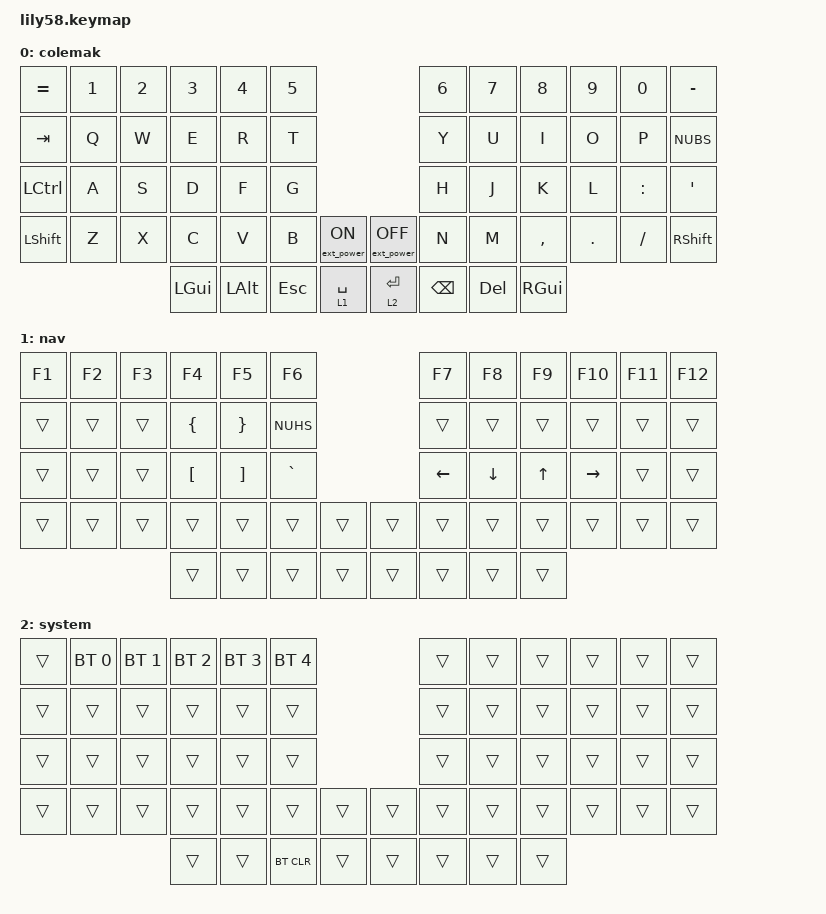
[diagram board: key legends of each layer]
/*
 * Copyright (c) 2020 The ZMK Contributors
 *
 * SPDX-License-Identifier: MIT
 */

#include <behaviors.dtsi>
#include <dt-bindings/zmk/keys.h>
#include <dt-bindings/zmk/bt.h>
#include <dt-bindings/zmk/ext_power.h>
#include "zmk-helpers/helper.h"             // source ZMK helper macros from urob see config/west.yaml

// As per https://araxia.net/keyboards/nice-view-bodge/, move screen gpio spi interface to 101.
&nice_view_spi {
    cs-gpios = <&gpio1 1 GPIO_ACTIVE_HIGH>;
};

/* Configure layers... */
ZMK_LAYER(colemak,
     // ╭─────────────┬─────────────┬─────────────┬─────────────┬─────────────┬─────────────╮                                      ╭─────────────┬─────────────┬─────────────┬─────────────┬─────────────┬─────────────╮
          &kp EQUAL     &kp N1        &kp N2        &kp N3        &kp N4           &kp N5                                          &kp N6        &kp N7        &kp N8        &kp N9        &kp N0        &kp MINUS
     // ├─────────────┼─────────────┼─────────────┼─────────────┼─────────────┼─────────────┤                                      ├─────────────┼─────────────┼─────────────┼─────────────┼─────────────┼─────────────┤
          &kp TAB       &kp Q         &kp W         &kp E         &kp R            &kp T                                           &kp Y         &kp  U        &kp I         &kp O         &kp P         &kp NUBS 
     // ├─────────────┼─────────────┼─────────────┼─────────────┼─────────────┼─────────────┤                                      ├─────────────┼─────────────┼─────────────┼─────────────┼─────────────┼─────────────┤
          &kp LCTRL     &kp A         &kp S         &kp D         &kp F            &kp G                                            &kp H         &kp  J        &kp K         &kp L         &kp COLON     &kp APOS
     // ├─────────────┼─────────────┼─────────────┼─────────────┼─────────────┼─────────────┤                                      ├─────────────┼─────────────┼─────────────┼─────────────┼─────────────┼─────────────┤
          &kp LSHFT     &kp Z         &kp X         &kp C         &kp V            &kp B     &ext_power EP_ON   &ext_power EP_OFF   &kp N         &kp M         &kp COMMA     &kp DOT       &kp FSLH      &kp RSHFT
     // ╰───────────────────────────────────────────────────────┼─────────────┼─────────────┤                                      ├─────────────┼─────────────┼───────────────────────────────────────────────────────╯
                                                        &kp LGUI      &kp LALT      &kp ESC       &lt 1 SPACE   &lt 2 RET     &kp BSPC      &kp DEL      &kp RGUI
     //                                                ╰─────────────┴─────────────┴─────────────┴─────────────┴─────────────┴─────────────┴─────────────┴─────────────╯
)

ZMK_LAYER(nav,
     // ╭─────────────┬─────────────┬─────────────┬─────────────┬─────────────┬─────────────╮                                      ╭─────────────┬─────────────┬─────────────┬─────────────┬─────────────┬─────────────╮
          &kp F1        &kp F2        &kp F3        &kp F4        &kp F5        &kp F6                                              &kp F7        &kp F8        &kp F9        &kp F10       &kp F11       &kp F12
     // ├─────────────┼─────────────┼─────────────┼─────────────┼─────────────┼─────────────┤                                      ├─────────────┼─────────────┼─────────────┼─────────────┼─────────────┼─────────────┤
          &trans        &trans        &trans        &kp LBRC      &kp RBRC      &kp NUHS                                            &trans        &trans        &trans        &trans        &trans        &trans              
     // ├─────────────┼─────────────┼─────────────┼─────────────┼─────────────┼─────────────┤                                      ├─────────────┼─────────────┼─────────────┼─────────────┼─────────────┼─────────────┤
          &trans        &trans        &trans        &kp LBKT      &kp RBKT      &kp GRAVE                                           &kp LEFT      &kp DOWN      &kp UP        &kp RIGHT     &trans        &trans       
     // ├─────────────┼─────────────┼─────────────┼─────────────┼─────────────┼─────────────┤                                      ├─────────────┼─────────────┼─────────────┼─────────────┼─────────────┼─────────────┤
          &trans        &trans        &trans        &trans        &trans        &trans        &trans                    &trans      &trans        &trans        &trans        &trans        &trans        &trans
     // ╰───────────────────────────────────────────────────────┼─────────────┼─────────────┤                                      ├─────────────┼─────────────┼───────────────────────────────────────────────────────╯
                                                        &trans        &trans        &trans        &trans        &trans        &trans        &trans        &trans 
     //                                                ╰─────────────┴─────────────┴─────────────┴─────────────┴─────────────┴─────────────┴─────────────┴─────────────╯
)

ZMK_LAYER(system,
     // ╭─────────────┬─────────────┬─────────────┬─────────────┬─────────────┬─────────────╮                                      ╭─────────────┬─────────────┬─────────────┬─────────────┬─────────────┬─────────────╮
          &trans        &bt BT_SEL 0  &bt BT_SEL 1  &bt BT_SEL 2  &bt BT_SEL 3  &bt BT_SEL 4                                        &trans        &trans        &trans        &trans        &trans        &trans 
     // ├─────────────┼─────────────┼─────────────┼─────────────┼─────────────┼─────────────┤                                      ├─────────────┼─────────────┼─────────────┼─────────────┼─────────────┼─────────────┤
          &trans        &trans        &trans        &trans        &trans        &trans                                              &trans        &trans        &trans        &trans        &trans        &trans              
     // ├─────────────┼─────────────┼─────────────┼─────────────┼─────────────┼─────────────┤                                      ├─────────────┼─────────────┼─────────────┼─────────────┼─────────────┼─────────────┤
          &trans        &trans        &trans        &trans        &trans        &trans                                              &trans        &trans        &trans        &trans        &trans        &trans              
     // ├─────────────┼─────────────┼─────────────┼─────────────┼─────────────┼─────────────┤                                      ├─────────────┼─────────────┼─────────────┼─────────────┼─────────────┼─────────────┤
          &trans        &trans        &trans        &trans        &trans        &trans        &trans                    &trans      &trans        &trans        &trans        &trans        &trans        &trans
     // ╰───────────────────────────────────────────────────────┼─────────────┼─────────────┤                                      ├─────────────┼─────────────┼───────────────────────────────────────────────────────╯
                                                        &trans        &trans        &bt BT_CLR    &trans        &trans        &trans        &trans        &trans 
     //                                                ╰─────────────┴─────────────┴─────────────┴─────────────┴─────────────┴─────────────┴─────────────┴─────────────╯
)
